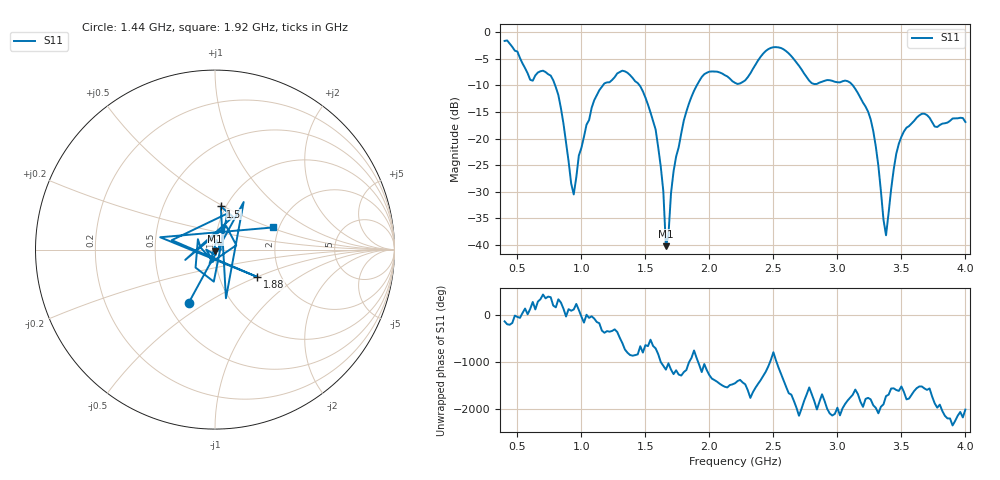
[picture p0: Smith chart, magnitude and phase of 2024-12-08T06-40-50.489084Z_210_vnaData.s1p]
!Created with skrf (http://scikit-rf.org).
# Hz S RI R 50.0
!freq ReS11 ImS11
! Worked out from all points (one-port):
!   181 points, 400 MHz to 4 GHz, reference 50 ohm
!   lowest |S11| = -40.2 dB at 1.66 GHz (marker M1), VSWR 1.02, Z = 50.1 - j0.973 ohm
!   |S11| at or under -10 dB: 794.4 MHz to 1.169 GHz (374.6 MHz wide, 38.2 % of centre); 1.454 GHz to 1.902 GHz (448.5 MHz wide, 26.7 % of centre); 3.12 GHz to end of sweep
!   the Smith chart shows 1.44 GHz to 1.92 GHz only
!   S11 on the Smith chart (normalised r, x): 1.44 GHz: 0.63, -0.42; 1.5 GHz: 0.95, +0.48; 1.88 GHz: 1.52, -0.50; 1.92 GHz: 1.86, +0.52
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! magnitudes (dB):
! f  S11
! 400 MHz  -1.7
! 600 MHz  -9.0
! 760 MHz  -8.2
! 860 MHz  -17.2
! 940 MHz  -30.5
! 980 MHz  -23.2
! 1.1 GHz  -12.8
! 1.3 GHz  -7.5
! 1.44 GHz  -9.6
! 1.5 GHz  -12.3
! 1.6 GHz  -21.7
! 1.64 GHz  -29.9
! 1.66 GHz  -40.2
! 1.68 GHz  -38.2
! 1.72 GHz  -26.2
! 1.76 GHz  -21.7
! 1.88 GHz  -11.0
! 1.92 GHz  -9.2
! 2.2 GHz  -9.5
! 2.48 GHz  -3.0
! 2.66 GHz  -5.1
! 2.8 GHz  -9.6
! 3.1 GHz  -9.5
! 3.26 GHz  -16.4
! 3.38 GHz  -38.2
! 3.46 GHz  -22.9
! 3.56 GHz  -17.7
! 4 GHz  -16.9
